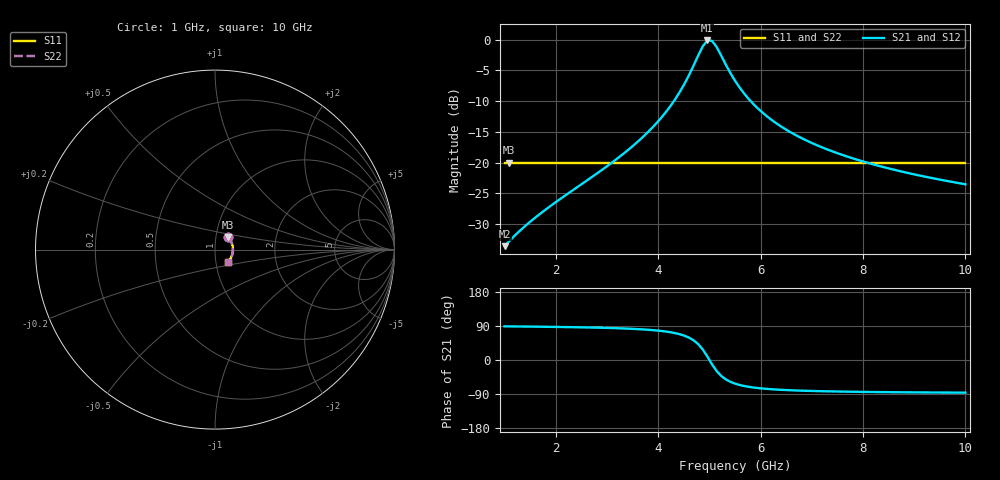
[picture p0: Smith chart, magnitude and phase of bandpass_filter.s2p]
! Created with skrf 1.11.0 (http://scikit-rf.org).
# GHz S RI R 50.0
!freq ReS11 ImS11 ReS21 ImS21 ReS12 ImS12 ReS22 ImS22
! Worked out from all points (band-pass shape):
!   101 points, 1 GHz to 10 GHz, reference 50 ohm
!   highest |S21| = -0.11 dB at 4.96 GHz (marker M1); lowest = -33.6 dB at 1 GHz (marker M2)
!   |S21| within 3 dB of the highest: 4.751 GHz to 5.263 GHz (511.9 MHz wide, 10.2 % of centre)
!   lowest |S11| = -20.0 dB at 1.09 GHz (marker M3), VSWR 1.22, Z = 57.1 + j8.06 ohm
!   |S11| at or under -10 dB: start of sweep to end of sweep
!   |S22| runs from -20.0 to -20.0 dB; largest |S21 - S12| = 0
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1  0.0714 0.07  0.000434 0.0208  0.000434 0.0208  0.0714 0.07
1.09  0.0715 0.0699  0.000524 0.0229  0.000524 0.0229  0.0715 0.0699
2.53  0.0731 0.0683  0.0046 0.0677  0.0046 0.0677  0.0731 0.0683
3.43  0.0751 0.066  0.0165 0.1274  0.0165 0.1274  0.0751 0.066
4.06  0.0785 0.062  0.0538 0.2255  0.0538 0.2255  0.0785 0.062
4.42  0.0829 0.0559  0.1406 0.3476  0.1406 0.3476  0.0829 0.0559
4.6  0.087 0.0493  0.264 0.4408  0.264 0.4408  0.087 0.0493
4.69  0.0899 0.0439  0.3787 0.4851  0.3787 0.4851  0.0899 0.0439
4.78  0.0934 0.0358  0.5523 0.4973  0.5523 0.4973  0.0934 0.0358
4.87  0.0971 0.024  0.7827 0.4124  0.7827 0.4124  0.0971 0.024
4.96  0.0997 0.00796  0.9748 0.1566  0.9748 0.1566  0.0997 0.00796
5.05  0.0995 -0.00981  0.9619 -0.1914  0.9619 -0.1914  0.0995 -0.00981
5.14  0.0968 -0.025  0.7662 -0.4232  0.7662 -0.4232  0.0968 -0.025
5.23  0.0934 -0.0358  0.5526 -0.4972  0.5526 -0.4972  0.0934 -0.0358
5.32  0.0902 -0.0432  0.3935 -0.4885  0.3935 -0.4885  0.0902 -0.0432
5.5  0.0856 -0.0518  0.2153 -0.411  0.2153 -0.411  0.0856 -0.0518
5.68  0.0826 -0.0564  0.1326 -0.3392  0.1326 -0.3392  0.0826 -0.0564
5.95  0.0798 -0.0602  0.0756 -0.2644  0.0756 -0.2644  0.0798 -0.0602
6.4  0.0773 -0.0634  0.0386 -0.1928  0.0386 -0.1928  0.0773 -0.0634
7.03  0.0756 -0.0655  0.0203 -0.141  0.0203 -0.141  0.0756 -0.0655
8.56  0.0738 -0.0675  0.0078 -0.088  0.0078 -0.088  0.0738 -0.0675
10  0.073 -0.0683  0.00442 -0.0664  0.00442 -0.0664  0.073 -0.0683
